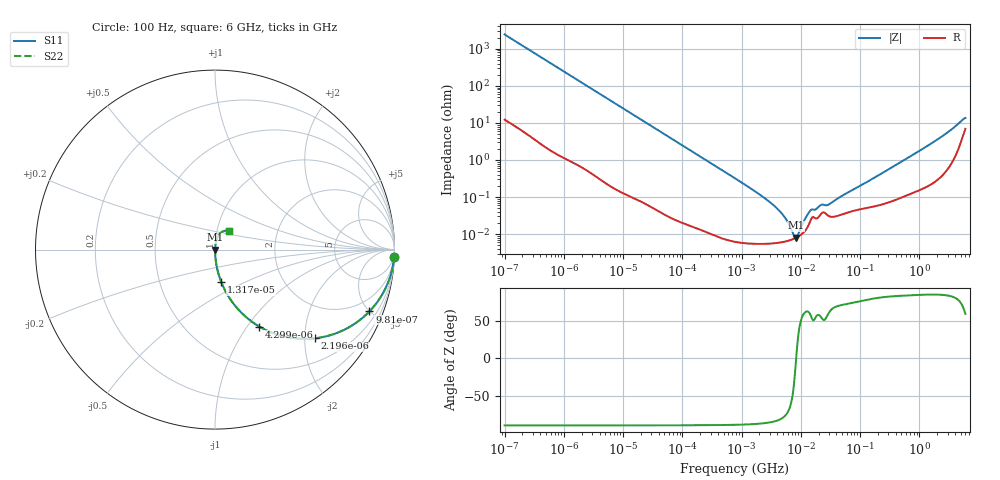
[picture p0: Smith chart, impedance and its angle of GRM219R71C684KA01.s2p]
!Murata Part Number: GRM219R71C684KA01
!These Parameters are Measured in Series Mode Connection
!Data Generated on Mar 30, 2021
!  o--ll--o
!Port1  Port2
!  o------o
!Operation Temp=25[degC], DC Bias Voltage=0[V]
!Freq. Start=100[Hz] Stop=6[GHz] 401[Steps]
# Hz S RI R 50
!Freq.(Hz) S11(Real) S11(Imag) S21(Real) S21(Imag) S12(Real) S12(Imag) S22(Real) S22(Imag)
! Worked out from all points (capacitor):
!   401 points, 100 Hz to 6 GHz, reference 50 ohm
!   read as one part in series: C = 654 nF near 109 Hz
!   lowest |Z| = 7.98 mohm at 8.312 MHz (marker M1)
!   series resonance near 8.342 MHz, so ESL is about 560 pH
!   S11 on the Smith chart (normalised r, x): 100 Hz: 1, -49; 981 Hz: 1.02, -4.99; 2.196 kHz: 1.01, -2.23; 4.299 kHz: 1.01, -1.14; 13.17 kHz: 1.00, -0.37; 6 GHz: 1.14, +0.24
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100  0.9981 -0.041  0.00189 0.041  0.00189 0.041  0.9981 -0.041
335  0.9809 -0.1345  0.0191 0.1345  0.0191 0.1345  0.9809 -0.1345
981  0.8604 -0.3443  0.1396 0.3443  0.1396 0.3443  0.8604 -0.3443
2008  0.5983 -0.4877  0.4017 0.4877  0.4017 0.4877  0.5983 -0.4877
2196  0.555 -0.4944  0.445 0.4944  0.445 0.4944  0.555 -0.4944
4299  0.2477 -0.4292  0.7523 0.4292  0.7523 0.4292  0.2477 -0.4292
7036  0.1103 -0.3109  0.8897 0.3109  0.8897 0.3109  0.1103 -0.3109
13169  0.0348 -0.1806  0.9652 0.1806  0.9652 0.1806  0.0348 -0.1806
40335  0.00416 -0.0612  0.9958 0.0612  0.9958 0.0612  0.00416 -0.0612
774597  7.23e-05 -0.00321  0.9999 0.00321  0.9999 0.00321  7.23e-05 -0.00321
3712478  5.74e-05 -0.000544  0.9999 0.000544  0.9999 0.000544  5.74e-05 -0.000544
5311619  6.26e-05 -0.000283  0.9999 0.000283  0.9999 0.000283  6.26e-05 -0.000283
7266822  7.26e-05 -8.48e-05  0.9999 8.48e-05  0.9999 8.48e-05  7.26e-05 -8.48e-05
8311524  7.98e-05 -2.2e-06  0.9999 2.2e-06  0.9999 2.2e-06  7.98e-05 -2.2e-06
9506416  9.04e-05 8.19e-05  0.9999 -8.19e-05  0.9999 -8.19e-05  9.04e-05 8.19e-05
1.360128e7  0.000178 0.000335  0.9998 -0.000335  0.9998 -0.000335  0.000178 0.000335
1.555665e7  0.000284 0.000371  0.9997 -0.000371  0.9997 -0.000371  0.000284 0.000371
2.225763e7  0.00036 0.000505  0.9996 -0.000505  0.9996 -0.000505  0.00036 0.000505
3.045065e7  0.000302 0.000572  0.9997 -0.000572  0.9997 -0.000572  0.000302 0.000572
3.124326e8  0.000759 0.00572  0.9992 -0.00572  0.9992 -0.00572  0.000759 0.00572
1.873145e9  0.00369 0.0327  0.9963 -0.0327  0.9963 -0.0327  0.00369 0.0327
6e9  0.0758 0.1017  0.9242 -0.1017  0.9242 -0.1017  0.0758 0.1017
